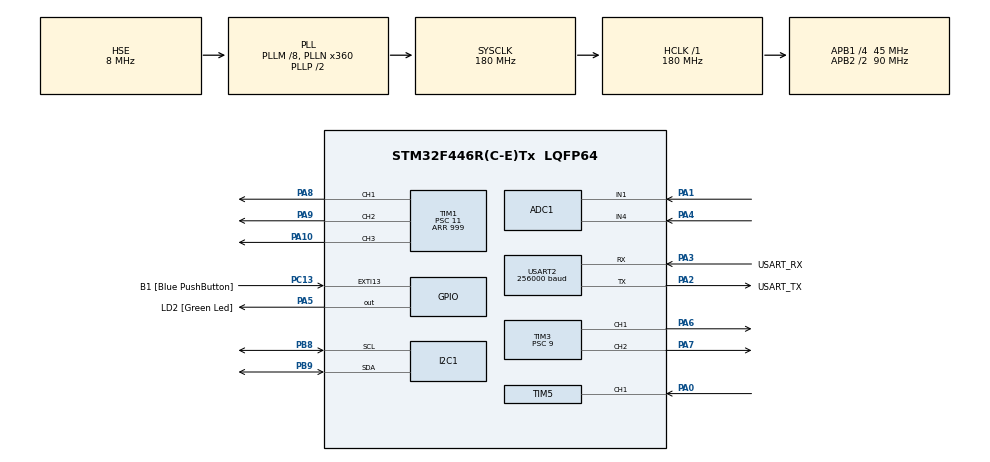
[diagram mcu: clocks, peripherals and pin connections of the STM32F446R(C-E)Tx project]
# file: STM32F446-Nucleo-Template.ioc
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ADC1.Channel-1\#ChannelRegularConversion=ADC_CHANNEL_1
ADC1.Channel-2\#ChannelRegularConversion=ADC_CHANNEL_4
ADC1.ContinuousConvMode=ENABLE
ADC1.DMAContinuousRequests=ENABLE
ADC1.EOCSelection=ADC_EOC_SEQ_CONV
ADC1.InjNumberOfConversion=0
ADC1.NbrOfConversion=2
ADC1.NbrOfConversionFlag=1
ADC1.Rank-1\#ChannelRegularConversion=1
ADC1.Rank-2\#ChannelRegularConversion=2
ADC1.SamplingTime-1\#ChannelRegularConversion=ADC_SAMPLETIME_15CYCLES
ADC1.SamplingTime-2\#ChannelRegularConversion=ADC_SAMPLETIME_15CYCLES
ADC1.ScanConvMode=ENABLE
ADC1.master=1
Dma.ADC1.2.Direction=DMA_PERIPH_TO_MEMORY
Dma.ADC1.2.FIFOMode=DMA_FIFOMODE_DISABLE
Dma.ADC1.2.Instance=DMA2_Stream0
Dma.ADC1.2.MemDataAlignment=DMA_MDATAALIGN_WORD
Dma.ADC1.2.MemInc=DMA_MINC_ENABLE
Dma.ADC1.2.Mode=DMA_CIRCULAR
Dma.ADC1.2.PeriphDataAlignment=DMA_PDATAALIGN_WORD
Dma.ADC1.2.PeriphInc=DMA_PINC_DISABLE
Dma.ADC1.2.Priority=DMA_PRIORITY_LOW
Dma.I2C1_RX.1.Direction=DMA_PERIPH_TO_MEMORY
Dma.I2C1_RX.1.FIFOMode=DMA_FIFOMODE_DISABLE
Dma.I2C1_RX.1.Instance=DMA1_Stream0
Dma.I2C1_RX.1.MemDataAlignment=DMA_MDATAALIGN_BYTE
Dma.I2C1_RX.1.MemInc=DMA_MINC_ENABLE
Dma.I2C1_RX.1.Mode=DMA_NORMAL
Dma.I2C1_RX.1.PeriphDataAlignment=DMA_PDATAALIGN_BYTE
Dma.I2C1_RX.1.PeriphInc=DMA_PINC_DISABLE
Dma.I2C1_RX.1.Priority=DMA_PRIORITY_LOW
Dma.I2C1_TX.0.Direction=DMA_MEMORY_TO_PERIPH
Dma.I2C1_TX.0.FIFOMode=DMA_FIFOMODE_DISABLE
Dma.I2C1_TX.0.Instance=DMA1_Stream6
Dma.I2C1_TX.0.MemDataAlignment=DMA_MDATAALIGN_BYTE
Dma.I2C1_TX.0.MemInc=DMA_MINC_ENABLE
Dma.I2C1_TX.0.Mode=DMA_NORMAL
Dma.I2C1_TX.0.PeriphDataAlignment=DMA_PDATAALIGN_BYTE
Dma.I2C1_TX.0.PeriphInc=DMA_PINC_DISABLE
Dma.I2C1_TX.0.Priority=DMA_PRIORITY_LOW
Dma.Request0=I2C1_TX
Dma.Request1=I2C1_RX
Dma.Request2=ADC1
I2C1.I2C_Mode=I2C_Fast
Mcu.Family=STM32F4
Mcu.Name=STM32F446R(C-E)Tx
Mcu.Package=LQFP64
NVIC.DMA1_Stream0_IRQn=true\:0\:0\:false\:false\:true\:false\:true
NVIC.DMA1_Stream6_IRQn=true\:0\:0\:false\:false\:true\:false\:true
NVIC.DMA2_Stream0_IRQn=true\:0\:0\:false\:false\:true\:false\:true
NVIC.EXTI15_10_IRQn=true\:0\:0\:false\:false\:true\:true\:true
NVIC.I2C1_ER_IRQn=true\:0\:0\:false\:false\:true\:true\:true
NVIC.I2C1_EV_IRQn=true\:0\:0\:false\:false\:true\:true\:true
NVIC.PriorityGroup=NVIC_PRIORITYGROUP_0
NVIC.TIM1_UP_TIM10_IRQn=true\:0\:0\:false\:false\:true\:true\:true
NVIC.TIM5_IRQn=true\:0\:0\:false\:false\:true\:true\:true
NVIC.TIM8_UP_TIM13_IRQn=true\:0\:0\:false\:false\:true\:true\:true
PA0-WKUP.Signal=S_TIM5_CH1
PA1.Signal=ADCx_IN1
PA10.Signal=S_TIM1_CH3
PA13.GPIO_Label=TMS
PA13.Mode=Serial_Wire
PA13.Signal=SYS_JTMS-SWDIO
PA14.GPIO_Label=TCK
PA14.Mode=Serial_Wire
PA14.Signal=SYS_JTCK-SWCLK
PA2.GPIO_Label=USART_TX
PA2.Mode=Asynchronous
PA2.Signal=USART2_TX
PA3.GPIO_Label=USART_RX
PA3.Mode=Asynchronous
PA3.Signal=USART2_RX
PA4.Signal=ADCx_IN4
PA5.GPIO_Label=LD2 [Green Led]
PA5.Signal=GPIO_Output
PA6.Signal=S_TIM3_CH1
PA7.Signal=S_TIM3_CH2
PA8.Signal=S_TIM1_CH1
PA9.Signal=S_TIM1_CH2
PB1.Signal=S_TIM3_CH4
PB3.GPIO_Label=SWO
PB3.Signal=SYS_JTDO-SWO
PB8.Mode=I2C
PB8.Signal=I2C1_SCL
PB9.Mode=I2C
PB9.Signal=I2C1_SDA
PC13.GPIO_Label=B1 [Blue PushButton]
PC13.GPIO_ModeDefaultEXTI=GPIO_MODE_IT_FALLING
PC13.GPIO_PuPd=GPIO_PULLUP
PC13.Signal=GPXTI13
PC14-OSC32_IN.Mode=LSE-External-Oscillator
PC14-OSC32_IN.Signal=RCC_OSC32_IN
PC15-OSC32_OUT.Mode=LSE-External-Oscillator
PC15-OSC32_OUT.Signal=RCC_OSC32_OUT
PH0-OSC_IN.Mode=HSE-External-Oscillator
PH0-OSC_IN.Signal=RCC_OSC_IN
PH1-OSC_OUT.Mode=HSE-External-Oscillator
PH1-OSC_OUT.Signal=RCC_OSC_OUT
ProjectManager.HeapSize=0x200
ProjectManager.StackSize=0x400
ProjectManager.TargetToolchain=STM32CubeIDE
RCC.48MHZClocksFreq_Value=84000000
RCC.AHBFreq_Value=180000000
RCC.APB1CLKDivider=RCC_HCLK_DIV4
RCC.APB1Freq_Value=45000000
RCC.APB1TimFreq_Value=90000000
RCC.APB2CLKDivider=RCC_HCLK_DIV2
RCC.APB2Freq_Value=90000000
RCC.APB2TimFreq_Value=180000000
RCC.CortexFreq_Value=180000000
RCC.FLatency-AdvancedSettings=FLASH_LATENCY_5
RCC.HCLKFreq_Value=180000000
RCC.HSE_VALUE=8000000
RCC.HSI_VALUE=16000000
RCC.PLLM=8
RCC.PLLN=360
RCC.PLLSourceVirtual=RCC_PLLSOURCE_HSE
RCC.SYSCLKFreq_VALUE=180000000
RCC.SYSCLKSource=RCC_SYSCLKSOURCE_PLLCLK
RCC.USBFreq_Value=180000000
RCC.VCOOutputFreq_Value=360000000
SH.ADCx_IN1.0=ADC1_IN1,IN1
SH.ADCx_IN4.0=ADC1_IN4,IN4
SH.S_TIM1_CH1.0=TIM1_CH1,PWM Generation1 CH1
SH.S_TIM1_CH2.0=TIM1_CH2,PWM Generation2 CH2
SH.S_TIM1_CH3.0=TIM1_CH3,PWM Generation3 CH3
SH.S_TIM3_CH1.0=TIM3_CH1,PWM Generation1 CH1
SH.S_TIM3_CH2.0=TIM3_CH2,PWM Generation2 CH2
SH.S_TIM3_CH4.0=TIM3_CH4
SH.S_TIM5_CH1.0=TIM5_CH1,Input_Capture1_from_TI1
TIM1.Channel-PWM\ Generation1\ CH1=TIM_CHANNEL_1
TIM1.Channel-PWM\ Generation2\ CH2=TIM_CHANNEL_2
TIM1.Channel-PWM\ Generation3\ CH3=TIM_CHANNEL_3
TIM1.OCPolarity_1=TIM_OCPOLARITY_HIGH
TIM1.OCPolarity_2=TIM_OCPOLARITY_HIGH
TIM1.OCPolarity_3=TIM_OCPOLARITY_HIGH
TIM1.Period=999
TIM1.Prescaler=11
TIM1.Pulse-PWM\ Generation1\ CH1=0
TIM1.Pulse-PWM\ Generation2\ CH2=0
TIM1.Pulse-PWM\ Generation3\ CH3=0
TIM3.Channel-PWM\ Generation1\ CH1=TIM_CHANNEL_1
TIM3.Channel-PWM\ Generation2\ CH2=TIM_CHANNEL_2
TIM3.Period=499
TIM3.Prescaler=9
TIM3.Pulse-PWM\ Generation1\ CH1=200
TIM3.Pulse-PWM\ Generation2\ CH2=200
TIM5.Channel-Input_Capture1_from_TI1=TIM_CHANNEL_1
TIM5.ICPolarity_CH1=TIM_INPUTCHANNELPOLARITY_FALLING
TIM5.Period=59999
TIM5.Prescaler=9999
TIM8.Period=599
TIM8.Prescaler=199
USART2.BaudRate=256000
USART2.Mode=MODE_TX
USART2.VirtualMode=VM_ASYNC
VP_TIM1_VS_ClockSourceINT.Mode=Internal
VP_TIM3_VS_ClockSourceINT.Mode=Internal
VP_TIM5_VS_ClockSourceINT.Mode=Internal
VP_TIM8_VS_ClockSourceINT.Mode=Internal
board=NUCLEO-F446RE

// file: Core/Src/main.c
/* USER CODE BEGIN Header */
/**
  ******************************************************************************
  * @file           : main.c
  * @brief          : Main program body
  ******************************************************************************
  * @attention
  *
  * <h2><center>&copy; Copyright (c) 2020 STMicroelectronics.
  * All rights reserved.</center></h2>
  *
  * This software component is licensed by ST under BSD 3-Clause license,
  * the "License"; You may not use this file except in compliance with the
  * License. You may obtain a copy of the License at:
  *                        opensource.org/licenses/BSD-3-Clause
  *
  ******************************************************************************
  */
/* USER CODE END Header */

#include "main.h"
#include "adc.h"
#include "dma.h"
#include "i2c.h"
#include "tim.h"
#include "usart.h"
#include "gpio.h"

/* USER CODE BEGIN Includes */
#include <math.h>
#include "stm32_tm1637.h"
#include <string.h>
#include <stdio.h>
/* USER CODE END Includes */

/* USER CODE BEGIN PV */
float sectionValues[SECTIONS];
uint32_t opticSensors[2];
float revolutions;
uint32_t on_line = 0;
uint32_t not_on_line = 0;
/* USER CODE END PV */

void SystemClock_Config(void);

int main(void)
{
  /* USER CODE BEGIN 1 */
  uint8_t output[20];
  static float revolutions_new = 0;
  static float correctness = 0.;
  /* USER CODE END 1 */

  /* MCU Configuration--------------------------------------------------------*/

  /* Reset of all peripherals, Initializes the Flash interface and the Systick. */
  HAL_Init();

  /* Configure the system clock */
  SystemClock_Config();

  /* Initialize all configured peripherals */
  MX_GPIO_Init();
  MX_DMA_Init();
  MX_I2C1_Init();
  MX_TIM1_Init();
  MX_TIM8_Init();
  MX_TIM3_Init();
  MX_TIM5_Init();
  MX_ADC1_Init();
  MX_USART2_UART_Init();
  /* USER CODE BEGIN 2 */
  for (int i = 1; i <= SECTIONS; i++)
  {
	//sectionValues[i-1] = (float) TIM1->ARR * (float) i / (float) SECTIONS; 			// simple version

	sectionValues[i-1] = (float) TIM1->ARR * sin(((M_PI/2)*i)/(float) SECTIONS);		// sin version
  }
  revolutions = 0;

  HAL_TIM_PWM_Start(&htim1 , TIM_CHANNEL_1);
  HAL_TIM_PWM_Start(&htim1 , TIM_CHANNEL_2);
  HAL_TIM_PWM_Start(&htim1 , TIM_CHANNEL_3);
  HAL_TIM_Base_Start_IT(&htim1);

  HAL_TIM_Base_Start_IT(&htim8);

  HAL_TIM_IC_Start_IT(&htim5, TIM_CHANNEL_1);

  HAL_TIM_PWM_Start(&htim3, TIM_CHANNEL_1);
  HAL_TIM_PWM_Start(&htim3, TIM_CHANNEL_2);

  HAL_ADC_Start_DMA(&hadc1, opticSensors, 2);

  tm1637Init();
  tm1637SetBrightness(3);
  tm1637DisplayDecimal(0, 0);
  /* USER CODE END 2 */

  /* Infinite loop */
  /* USER CODE BEGIN WHILE */
  while (1)
  {
	  if (revolutions != revolutions_new)
	  {
		  revolutions_new = revolutions;
		  tm1637DisplayDecimal((int) (revolutions * 100), 0);
	  }

	  correctness = (correctness + (((float) on_line * 100.) / ((float) on_line  + (float) not_on_line))) / 2.;
	  sprintf((char*) output, "%.2lf" , correctness);
	  HAL_UART_Transmit(&huart2, output, strlen((char*) output) + 1, 10);
    /* USER CODE END WHILE */

  }
}

void SystemClock_Config(void)
{
  RCC_OscInitTypeDef RCC_OscInitStruct = {0};
  RCC_ClkInitTypeDef RCC_ClkInitStruct = {0};

  /** Configure the main internal regulator output voltage
  */
  __HAL_RCC_PWR_CLK_ENABLE();
  __HAL_PWR_VOLTAGESCALING_CONFIG(PWR_REGULATOR_VOLTAGE_SCALE1);
  /** Initializes the CPU, AHB and APB busses clocks
  */
  RCC_OscInitStruct.OscillatorType = RCC_OSCILLATORTYPE_HSE;
  RCC_OscInitStruct.HSEState = RCC_HSE_ON;
  RCC_OscInitStruct.PLL.PLLState = RCC_PLL_ON;
  RCC_OscInitStruct.PLL.PLLSource = RCC_PLLSOURCE_HSE;
  RCC_OscInitStruct.PLL.PLLM = 8;
  RCC_OscInitStruct.PLL.PLLN = 360;
  RCC_OscInitStruct.PLL.PLLP = RCC_PLLP_DIV2;
  RCC_OscInitStruct.PLL.PLLQ = 2;
  RCC_OscInitStruct.PLL.PLLR = 2;
  if (HAL_RCC_OscConfig(&RCC_OscInitStruct) != HAL_OK)
  {
    Error_Handler();
  }
  /** Activate the Over-Drive mode
  */
  if (HAL_PWREx_EnableOverDrive() != HAL_OK)
  {
    Error_Handler();
  }
  /** Initializes the CPU, AHB and APB busses clocks
  */
  RCC_ClkInitStruct.ClockType = RCC_CLOCKTYPE_HCLK|RCC_CLOCKTYPE_SYSCLK
                              |RCC_CLOCKTYPE_PCLK1|RCC_CLOCKTYPE_PCLK2;
  RCC_ClkInitStruct.SYSCLKSource = RCC_SYSCLKSOURCE_PLLCLK;
  RCC_ClkInitStruct.AHBCLKDivider = RCC_SYSCLK_DIV1;
  RCC_ClkInitStruct.APB1CLKDivider = RCC_HCLK_DIV4;
  RCC_ClkInitStruct.APB2CLKDivider = RCC_HCLK_DIV2;

  if (HAL_RCC_ClockConfig(&RCC_ClkInitStruct, FLASH_LATENCY_5) != HAL_OK)
  {
    Error_Handler();
  }
}

void Error_Handler(void)
{
}

/************************ (C) COPYRIGHT STMicroelectronics *****END OF FILE****/
